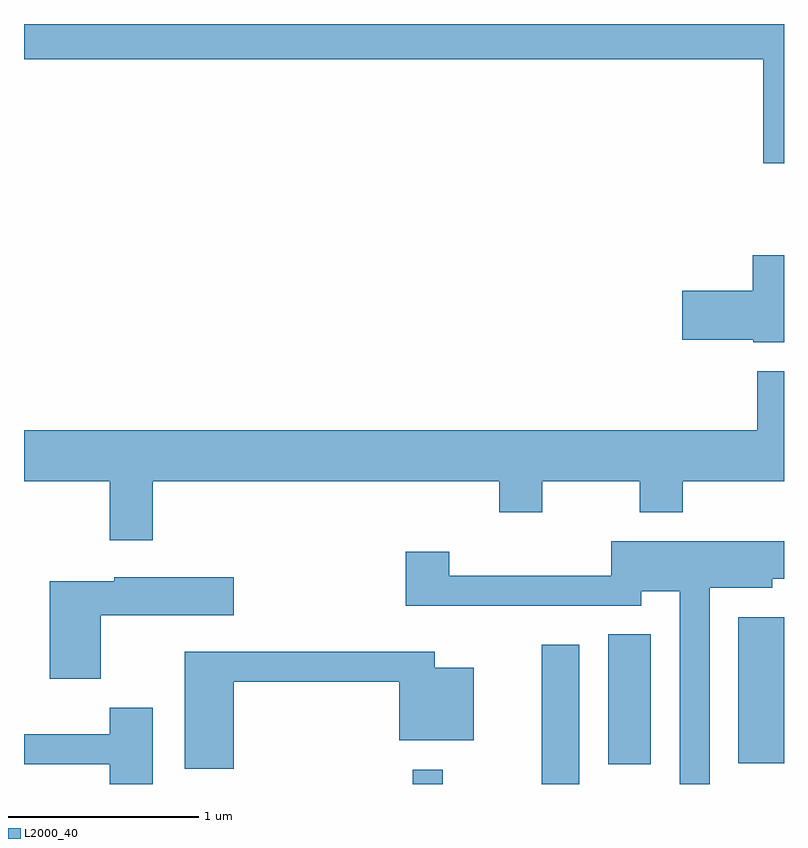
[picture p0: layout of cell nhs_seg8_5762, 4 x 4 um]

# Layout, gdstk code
import gdstk
lib = gdstk.Library(unit=1e-6, precision=1e-09)
def R(c, l, rs):  # rectangles x0, y0, x1, y1
    for r in rs: c.add(gdstk.rectangle(r[:2], r[2:], *l))
def P(c, l, *ps):  # polygons
    for p in ps: c.add(gdstk.Polygon(p, *l))
L2000_40 = (2000, 40)

nhs_seg8_5762 = lib.new_cell('nhs_seg8_5762')
R(nhs_seg8_5762, L2000_40, [(359.656,1870.342,359.814,1870.418), (360.336,1870.342,360.534,1871.074), (360.686,1870.446,360.909,1871.129), (361.371,1870.451,361.611,1871.219)])
P(nhs_seg8_5762, L2000_40, [(361.611,1874.342),(357.611,1874.342),(357.611,1874.156),(361.501,1874.156),(361.501,1873.608),(361.611,1873.608)],
  [(361.611,1873.124),(361.446,1873.124),(361.446,1872.939),(361.076,1872.939),(361.076,1872.681),(361.45,1872.681),(361.45,1872.666),(361.611,1872.666)],
  [(358.289,1871.936),(360.111,1871.936),(360.111,1871.771),(360.339,1871.771),(360.339,1871.936),(360.851,1871.936),(360.851,1871.771),(361.079,1871.771),(361.079,1871.936),(361.611,1871.936),(361.611,1872.514),(361.471,1872.514),(361.471,1872.204),(357.611,1872.204),(357.611,1871.936),(358.061,1871.936),(358.061,1871.626),(358.289,1871.626)],
  [(361.219,1871.376),(361.549,1871.376),(361.549,1871.421),(361.611,1871.421),(361.611,1871.619),(360.701,1871.619),(360.701,1871.439),(359.849,1871.439),(359.849,1871.564),(359.621,1871.564),(359.621,1871.281),(360.859,1871.281),(360.859,1871.356),(361.061,1871.356),(361.061,1870.342),(361.219,1870.342)],
  [(358.014,1871.231),(358.714,1871.231),(358.714,1871.429),(358.086,1871.429),(358.086,1871.409),(357.746,1871.409),(357.746,1870.896),(358.014,1870.896)],
  [(358.714,1870.881),(359.586,1870.881),(359.586,1870.571),(359.979,1870.571),(359.979,1870.954),(359.774,1870.954),(359.774,1871.039),(358.456,1871.039),(358.456,1870.421),(358.714,1870.421)],
  [(358.289,1870.744),(358.061,1870.744),(358.061,1870.604),(357.611,1870.604),(357.611,1870.446),(358.061,1870.446),(358.061,1870.342),(358.289,1870.342)])

lib.write_gds('nhs_seg8_5762.gds')
